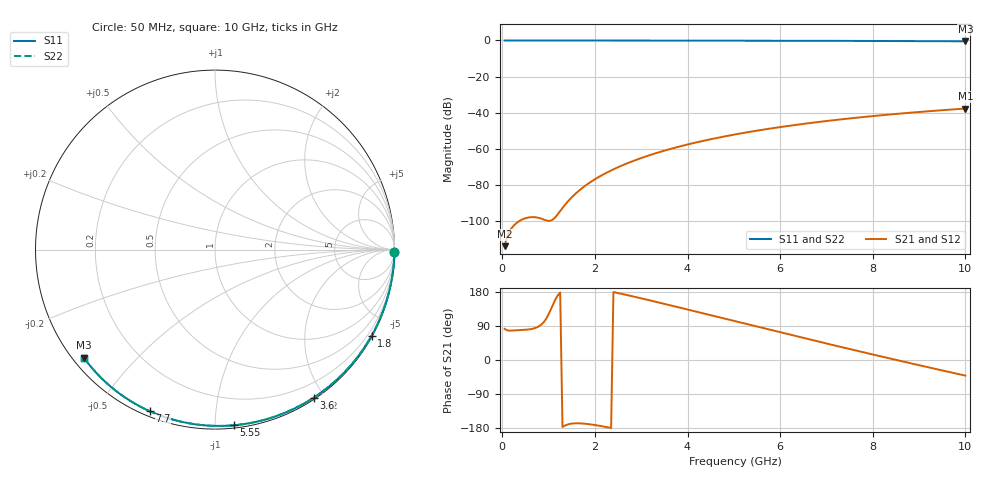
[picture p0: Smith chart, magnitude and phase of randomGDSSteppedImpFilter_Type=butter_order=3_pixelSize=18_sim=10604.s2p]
! freq	dB(S11)	phase(S11)	dB(S12)	phase(S12)
!  dB(S21)	phase(S21)	dB(S22)	phase(S22)
!S-par simulation data
#  GHz  S  DB  R 50
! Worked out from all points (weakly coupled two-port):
!   200 points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, 50 MHz to 10 GHz, reference 50 ohm
!   highest |S21| = -37.73 dB at 10 GHz (marker M1); lowest = -114.0 dB at 50 MHz (marker M2)
!   lowest |S11| = -0.5 dB at 10 GHz (marker M3), VSWR 36.51, Z = 1.55 - j17.9 ohm
!   |S11| at or under -10 dB: nowhere
!   |S22| runs from -0.5 to 0.0 dB; largest |S21 - S12| = 0
!   S11 on the Smith chart (normalised r, x): 50 MHz: open; 1.8 GHz: 0.03, -3.89; 3.6 GHz: 0.02, -1.87; 5.55 GHz: 0.02, -1.11; 7.7 GHz: 0.02, -0.67; 10 GHz: 0.03, -0.36
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0.05  -0.00 -0.8  -113.99 82.2  -113.99 82.2  -0.00 -0.8
0.45  -0.01 -7.3  -98.97 79.2  -98.97 79.2  -0.01 -7.3
0.9  -0.02 -14.5  -99.29 100.5  -99.29 100.5  -0.02 -14.5
1.75  -0.04 -28.0  -81.30 -167.7  -81.30 -167.7  -0.04 -28.0
1.8  -0.04 -28.8  -80.34 -168.3  -80.34 -168.3  -0.04 -28.8
1.85  -0.04 -29.6  -79.43 -169.0  -79.43 -169.0  -0.04 -29.6
2  -0.04 -31.9  -76.92 -171.6  -76.92 -171.6  -0.04 -31.9
2.15  -0.04 -34.3  -74.67 -174.7  -74.67 -174.7  -0.04 -34.3
2.35  -0.05 -37.4  -72.02 -179.5  -72.02 -179.5  -0.05 -37.4
2.55  -0.05 -40.4  -69.66 175.3  -69.66 175.3  -0.05 -40.4
2.95  -0.06 -46.5  -65.60 164.2  -65.60 164.2  -0.06 -46.5
3.4  -0.07 -53.3  -61.81 151.1  -61.81 151.1  -0.07 -53.3
3.6  -0.08 -56.2  -60.33 145.2  -60.33 145.2  -0.08 -56.2
4.3  -0.09 -66.4  -55.84 124.2  -55.84 124.2  -0.09 -66.4
5.05  -0.12 -77.0  -51.96 101.5  -51.96 101.5  -0.12 -77.0
5.55  -0.14 -83.9  -49.77 86.5  -49.77 86.5  -0.14 -83.9
6.1  -0.16 -91.3  -47.63 70.1  -47.63 70.1  -0.16 -91.3
6.7  -0.19 -99.2  -45.58 52.3  -45.58 52.3  -0.19 -99.2
7.7  -0.26 -112.0  -42.67 23.2  -42.67 23.2  -0.26 -112.0
8.35  -0.31 -120.1  -41.06 4.6  -41.06 4.6  -0.31 -120.1
9.2  -0.39 -130.7  -39.22 -19.3  -39.22 -19.3  -0.39 -130.7
10  -0.48 -140.6  -37.73 -41.3  -37.73 -41.3  -0.48 -140.6
